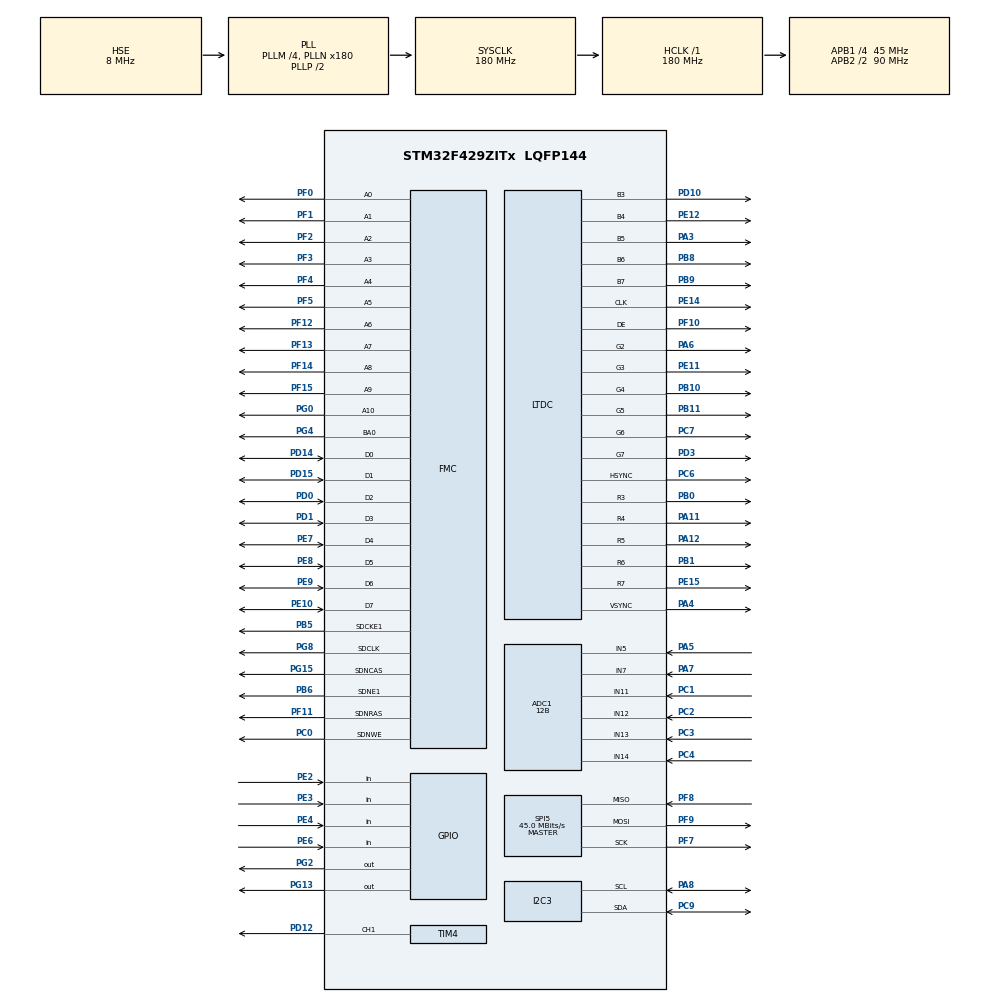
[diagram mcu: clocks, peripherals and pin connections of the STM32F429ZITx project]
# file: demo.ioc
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ADC1.Channel-4\#ChannelRegularConversion=ADC_CHANNEL_5
ADC1.Channel-5\#ChannelRegularConversion=ADC_CHANNEL_7
ADC1.Channel-6\#ChannelRegularConversion=ADC_CHANNEL_11
ADC1.Channel-7\#ChannelRegularConversion=ADC_CHANNEL_12
ADC1.Channel-8\#ChannelRegularConversion=ADC_CHANNEL_13
ADC1.Channel-9\#ChannelRegularConversion=ADC_CHANNEL_14
ADC1.ContinuousConvMode=DISABLE
ADC1.DMAContinuousRequests=DISABLE
ADC1.EOCSelection=ADC_EOC_SEQ_CONV
ADC1.NbrOfConversion=6
ADC1.NbrOfConversionFlag=1
ADC1.Rank-5\#ChannelRegularConversion=2
ADC1.Rank-6\#ChannelRegularConversion=3
ADC1.Rank-7\#ChannelRegularConversion=4
ADC1.Rank-8\#ChannelRegularConversion=5
ADC1.Rank-9\#ChannelRegularConversion=6
ADC1.Resolution=ADC_RESOLUTION_12B
ADC1.SamplingTime-4\#ChannelRegularConversion=ADC_SAMPLETIME_3CYCLES
ADC1.SamplingTime-5\#ChannelRegularConversion=ADC_SAMPLETIME_3CYCLES
ADC1.SamplingTime-6\#ChannelRegularConversion=ADC_SAMPLETIME_3CYCLES
ADC1.SamplingTime-7\#ChannelRegularConversion=ADC_SAMPLETIME_3CYCLES
ADC1.SamplingTime-8\#ChannelRegularConversion=ADC_SAMPLETIME_3CYCLES
ADC1.SamplingTime-9\#ChannelRegularConversion=ADC_SAMPLETIME_3CYCLES
ADC1.master=1
DMA2D.ColorMode=DMA2D_OUTPUT_RGB565
Dma.ADC1.0.Direction=DMA_PERIPH_TO_MEMORY
Dma.ADC1.0.FIFOMode=DMA_FIFOMODE_DISABLE
Dma.ADC1.0.Instance=DMA2_Stream4
Dma.ADC1.0.MemDataAlignment=DMA_MDATAALIGN_HALFWORD
Dma.ADC1.0.MemInc=DMA_MINC_ENABLE
Dma.ADC1.0.Mode=DMA_CIRCULAR
Dma.ADC1.0.PeriphDataAlignment=DMA_PDATAALIGN_HALFWORD
Dma.ADC1.0.PeriphInc=DMA_PINC_DISABLE
Dma.ADC1.0.Priority=DMA_PRIORITY_HIGH
Dma.Request0=ADC1
Dma.Request1=TIM4_CH1
Dma.TIM4_CH1.1.Direction=DMA_MEMORY_TO_PERIPH
Dma.TIM4_CH1.1.FIFOMode=DMA_FIFOMODE_DISABLE
Dma.TIM4_CH1.1.Instance=DMA1_Stream0
Dma.TIM4_CH1.1.MemDataAlignment=DMA_MDATAALIGN_HALFWORD
Dma.TIM4_CH1.1.MemInc=DMA_MINC_ENABLE
Dma.TIM4_CH1.1.Mode=DMA_NORMAL
Dma.TIM4_CH1.1.PeriphDataAlignment=DMA_PDATAALIGN_HALFWORD
Dma.TIM4_CH1.1.PeriphInc=DMA_PINC_DISABLE
Dma.TIM4_CH1.1.Priority=DMA_PRIORITY_LOW
Mcu.Family=STM32F4
Mcu.Name=STM32F429ZITx
Mcu.Package=LQFP144
NVIC.DMA1_Stream0_IRQn=true\:0\:0\:false\:false\:true\:false\:true\:true
NVIC.DMA2_Stream4_IRQn=true\:0\:0\:false\:false\:true\:false\:true\:true
NVIC.PriorityGroup=NVIC_PRIORITYGROUP_4
PA11.Mode=RGB565
PA11.Signal=LTDC_R4
PA12.Mode=RGB565
PA12.Signal=LTDC_R5
PA13.Mode=Serial_Wire
PA13.Signal=SYS_JTMS-SWDIO
PA14.Mode=Serial_Wire
PA14.Signal=SYS_JTCK-SWCLK
PA3.Mode=RGB565
PA3.Signal=LTDC_B5
PA4.Mode=RGB565
PA4.Signal=LTDC_VSYNC
PA5.Signal=ADCx_IN5
PA6.Mode=RGB565
PA6.Signal=LTDC_G2
PA7.Signal=ADCx_IN7
PA8.Mode=I2C
PA8.Signal=I2C3_SCL
PB0.Mode=RGB565
PB0.Signal=LTDC_R3
PB1.Mode=RGB565
PB1.Signal=LTDC_R6
PB10.Mode=RGB565
PB10.Signal=LTDC_G4
PB11.Mode=RGB565
PB11.Signal=LTDC_G5
PB5.Mode=SdramChipSelect2_1
PB5.Signal=FMC_SDCKE1
PB6.Mode=SdramChipSelect2_1
PB6.Signal=FMC_SDNE1
PB8.Mode=RGB565
PB8.Signal=LTDC_B6
PB9.Mode=RGB565
PB9.Signal=LTDC_B7
PC0.Signal=FMC_SDNWE
PC1.Signal=ADCx_IN11
PC2.Signal=ADCx_IN12
PC3.Signal=ADCx_IN13
PC4.Signal=ADCx_IN14
PC6.Mode=RGB565
PC6.Signal=LTDC_HSYNC
PC7.Mode=RGB565
PC7.Signal=LTDC_G6
PC9.Mode=I2C
PC9.Signal=I2C3_SDA
PD0.Signal=FMC_D2_DA2
PD1.Signal=FMC_D3_DA3
PD10.Mode=RGB565
PD10.Signal=LTDC_B3
PD12.Signal=S_TIM4_CH1
PD14.Signal=FMC_D0_DA0
PD15.Signal=FMC_D1_DA1
PD3.Mode=RGB565
PD3.Signal=LTDC_G7
PE10.Signal=FMC_D7_DA7
PE11.Mode=RGB565
PE11.Signal=LTDC_G3
PE12.Mode=RGB565
PE12.Signal=LTDC_B4
PE14.Mode=RGB565
PE14.Signal=LTDC_CLK
PE15.Mode=RGB565
PE15.Signal=LTDC_R7
PE2.Signal=GPIO_Input
PE3.Signal=GPIO_Input
PE4.Signal=GPIO_Input
PE6.Signal=GPIO_Input
PE7.Signal=FMC_D4_DA4
PE8.Signal=FMC_D5_DA5
PE9.Signal=FMC_D6_DA6
PF0.Signal=FMC_A0
PF1.Signal=FMC_A1
PF10.Mode=RGB565
PF10.Signal=LTDC_DE
PF11.Signal=FMC_SDNRAS
PF12.Signal=FMC_A6
PF13.Signal=FMC_A7
PF14.Signal=FMC_A8
PF15.Signal=FMC_A9
PF2.Signal=FMC_A2
PF3.Signal=FMC_A3
PF4.Signal=FMC_A4
PF5.Signal=FMC_A5
PF7.Mode=Full_Duplex_Master
PF7.Signal=SPI5_SCK
PF8.Mode=Full_Duplex_Master
PF8.Signal=SPI5_MISO
PF9.Mode=Full_Duplex_Master
PF9.Signal=SPI5_MOSI
PG0.Signal=FMC_A10
PG13.GPIO_Speed=GPIO_SPEED_FREQ_HIGH
PG13.Signal=GPIO_Output
PG15.Signal=FMC_SDNCAS
PG2.Signal=GPIO_Output
PG4.Signal=FMC_A14_BA0
PG8.Signal=FMC_SDCLK
PH0/OSC_IN.Mode=HSE-External-Clock-Source
PH0/OSC_IN.Signal=RCC_OSC_IN
PH1/OSC_OUT.Mode=HSE-External-Clock-Source
PH1/OSC_OUT.Signal=RCC_OSC_OUT
ProjectManager.HeapSize=0x200
ProjectManager.StackSize=0x400
ProjectManager.TargetToolchain=STM32CubeIDE
RCC.48MHZClocksFreq_Value=90000000
RCC.AHBFreq_Value=180000000
RCC.APB1CLKDivider=RCC_HCLK_DIV4
RCC.APB1Freq_Value=45000000
RCC.APB1TimFreq_Value=90000000
RCC.APB2CLKDivider=RCC_HCLK_DIV2
RCC.APB2Freq_Value=90000000
RCC.APB2TimFreq_Value=180000000
RCC.CortexFreq_Value=180000000
RCC.HCLKFreq_Value=180000000
RCC.HSE_VALUE=8000000
RCC.HSI_VALUE=16000000
RCC.LSE_VALUE=32768
RCC.PLLM=4
RCC.PLLN=180
RCC.PLLSAIN=50
RCC.PLLSAIR=4
RCC.PLLSourceVirtual=RCC_PLLSOURCE_HSE
RCC.SYSCLKFreq_VALUE=180000000
RCC.SYSCLKSource=RCC_SYSCLKSOURCE_PLLCLK
RCC.VCOOutputFreq_Value=360000000
SH.ADCx_IN11.0=ADC1_IN11,IN11
SH.ADCx_IN12.0=ADC1_IN12,IN12
SH.ADCx_IN13.0=ADC1_IN13,IN13
SH.ADCx_IN14.0=ADC1_IN14,IN14
SH.ADCx_IN5.0=ADC1_IN5,IN5
SH.ADCx_IN7.0=ADC1_IN7,IN7
SH.FMC_A0.0=FMC_A0,11b-sda1
SH.FMC_A1.0=FMC_A1,11b-sda1
SH.FMC_A10.0=FMC_A10,11b-sda1
SH.FMC_A14_BA0.0=FMC_BA0,TwoSdramBanks1
SH.FMC_A2.0=FMC_A2,11b-sda1
SH.FMC_A3.0=FMC_A3,11b-sda1
SH.FMC_A4.0=FMC_A4,11b-sda1
SH.FMC_A5.0=FMC_A5,11b-sda1
SH.FMC_A6.0=FMC_A6,11b-sda1
SH.FMC_A7.0=FMC_A7,11b-sda1
SH.FMC_A8.0=FMC_A8,11b-sda1
SH.FMC_A9.0=FMC_A9,11b-sda1
SH.FMC_D0_DA0.0=FMC_D0,sd-8b-d1
SH.FMC_D1_DA1.0=FMC_D1,sd-8b-d1
SH.FMC_D2_DA2.0=FMC_D2,sd-8b-d1
SH.FMC_D3_DA3.0=FMC_D3,sd-8b-d1
SH.FMC_D4_DA4.0=FMC_D4,sd-8b-d1
SH.FMC_D5_DA5.0=FMC_D5,sd-8b-d1
SH.FMC_D6_DA6.0=FMC_D6,sd-8b-d1
SH.FMC_D7_DA7.0=FMC_D7,sd-8b-d1
SH.FMC_SDCLK.0=FMC_SDCLK,11b-sda1
SH.FMC_SDNCAS.0=FMC_SDNCAS,11b-sda1
SH.FMC_SDNRAS.0=FMC_SDNRAS,11b-sda1
SH.FMC_SDNWE.0=FMC_SDNWE,11b-sda1
SH.S_TIM4_CH1.0=TIM4_CH1,PWM Generation1 CH1
SPI5.CalculateBaudRate=45.0 MBits/s
SPI5.Direction=SPI_DIRECTION_2LINES
SPI5.Mode=SPI_MODE_MASTER
SPI5.VirtualType=VM_MASTER
TIM4.Channel-PWM\ Generation1\ CH1=TIM_CHANNEL_1
TIM4.Period=112-1
VP_DMA2D_VS_DMA2D.Mode=DMA2D_Activate
VP_TIM4_VS_ClockSourceINT.Mode=Internal
board=custom

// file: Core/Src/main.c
/* USER CODE BEGIN Header */
/**
 ******************************************************************************
 * @file           : main.c
 * @brief          : Main program body
 ******************************************************************************
 * @attention
 *
 * Copyright (c) 2023 STMicroelectronics.
 * All rights reserved.
 *
 * This software is licensed under terms that can be found in the LICENSE file
 * in the root directory of this software component.
 * If no LICENSE file comes with this software, it is provided AS-IS.
 *
 ******************************************************************************
 */
/* USER CODE END Header */
#include "main.h"
#include "adc.h"
#include "dma.h"
#include "dma2d.h"
#include "i2c.h"
#include "ltdc.h"
#include "spi.h"
#include "tim.h"
#include "gpio.h"
#include "fmc.h"

/* USER CODE BEGIN Includes */
#include <stdlib.h>
#include "MDL_sensors.h"
#include "MDL_led.h"
#include "MDL_lcd.h"

/* USER CODE END Includes */

void SystemClock_Config(void);

int main(void)
{

  /* MCU Configuration--------------------------------------------------------*/

  /* Reset of all peripherals, Initializes the Flash interface and the Systick. */
  HAL_Init();

  /* Configure the system clock */
  SystemClock_Config();

  /* Initialize all configured peripherals */
  MX_GPIO_Init();
  MX_DMA_Init();
  MX_ADC1_Init();
  MX_TIM4_Init();
  MX_DMA2D_Init();
  MX_FMC_Init();
  MX_I2C3_Init();
  MX_LTDC_Init();
  MX_SPI5_Init();
  /* USER CODE BEGIN 2 */
  MDL_sensors_init();
  MDL_leds_init();
  MDL_LCD_Init();
  HAL_Delay(1000);

    MDL_LCD_Bttn_Pressed(START);
    HAL_Delay(1000);

    MDL_LCD_Bttn_Pressed(PLUS);
    MDL_LCD_Bttn_Pressed(PLUS);
    MDL_LCD_Bttn_Pressed(PLUS);
    //MDL_LCD_Bttn_Pressed(PLUS);
    //MDL_LCD_Bttn_Pressed(PLUS);
    HAL_Delay(1000);

  	  MDL_LCD_Bttn_Pressed(START);
  	  MDL_LCD_Hit_Update(200);
  	  HAL_Delay(1000);
  	  MDL_LCD_Bttn_Pressed(TOCI);
  	  MDL_LCD_Hit_Update(200);
  	  HAL_Delay(1000);
  	  MDL_LCD_Bttn_Pressed(TOCI);
  	  HAL_Delay(1000);
  	  MDL_LCD_Hit_Update(200);
  	  HAL_Delay(1000);
  	  MDL_LCD_Bttn_Pressed(TOCI);
  	  MDL_LCD_Hit_Update(200);
  	  HAL_Delay(1000);
  	  MDL_LCD_Bttn_Pressed(TOCI);
  	  MDL_LCD_Hit_Update(200);
  	MDL_LCD_Hit_Update(1000);
  	  HAL_Delay(1000);
  	 MDL_LCD_Bttn_Pressed(TOCI);
  	MDL_LCD_Hit_Update(200);
  	  HAL_Delay(1000000);
  	  MDL_LCD_Hit_Update(1000);

  /* USER CODE END 2 */

  /* Infinite loop */
	while (1) {

    /* USER CODE BEGIN 3 */

		MDL_sensors_handler();

	}
  /* USER CODE END 3 */
}

void SystemClock_Config(void)
{
  RCC_OscInitTypeDef RCC_OscInitStruct = {0};
  RCC_ClkInitTypeDef RCC_ClkInitStruct = {0};

  /** Configure the main internal regulator output voltage
  */
  __HAL_RCC_PWR_CLK_ENABLE();
  __HAL_PWR_VOLTAGESCALING_CONFIG(PWR_REGULATOR_VOLTAGE_SCALE1);

  /** Initializes the RCC Oscillators according to the specified parameters
  * in the RCC_OscInitTypeDef structure.
  */
  RCC_OscInitStruct.OscillatorType = RCC_OSCILLATORTYPE_HSE;
  RCC_OscInitStruct.HSEState = RCC_HSE_BYPASS;
  RCC_OscInitStruct.PLL.PLLState = RCC_PLL_ON;
  RCC_OscInitStruct.PLL.PLLSource = RCC_PLLSOURCE_HSE;
  RCC_OscInitStruct.PLL.PLLM = 4;
  RCC_OscInitStruct.PLL.PLLN = 180;
  RCC_OscInitStruct.PLL.PLLP = RCC_PLLP_DIV2;
  RCC_OscInitStruct.PLL.PLLQ = 4;
  if (HAL_RCC_OscConfig(&RCC_OscInitStruct) != HAL_OK)
  {
    Error_Handler();
  }

  /** Activate the Over-Drive mode
  */
  if (HAL_PWREx_EnableOverDrive() != HAL_OK)
  {
    Error_Handler();
  }

  /** Initializes the CPU, AHB and APB buses clocks
  */
  RCC_ClkInitStruct.ClockType = RCC_CLOCKTYPE_HCLK|RCC_CLOCKTYPE_SYSCLK
                              |RCC_CLOCKTYPE_PCLK1|RCC_CLOCKTYPE_PCLK2;
  RCC_ClkInitStruct.SYSCLKSource = RCC_SYSCLKSOURCE_PLLCLK;
  RCC_ClkInitStruct.AHBCLKDivider = RCC_SYSCLK_DIV1;
  RCC_ClkInitStruct.APB1CLKDivider = RCC_HCLK_DIV4;
  RCC_ClkInitStruct.APB2CLKDivider = RCC_HCLK_DIV2;

  if (HAL_RCC_ClockConfig(&RCC_ClkInitStruct, FLASH_LATENCY_5) != HAL_OK)
  {
    Error_Handler();
  }
}

void Error_Handler(void)
{
	__disable_irq();
	while (1) {
	}
}
